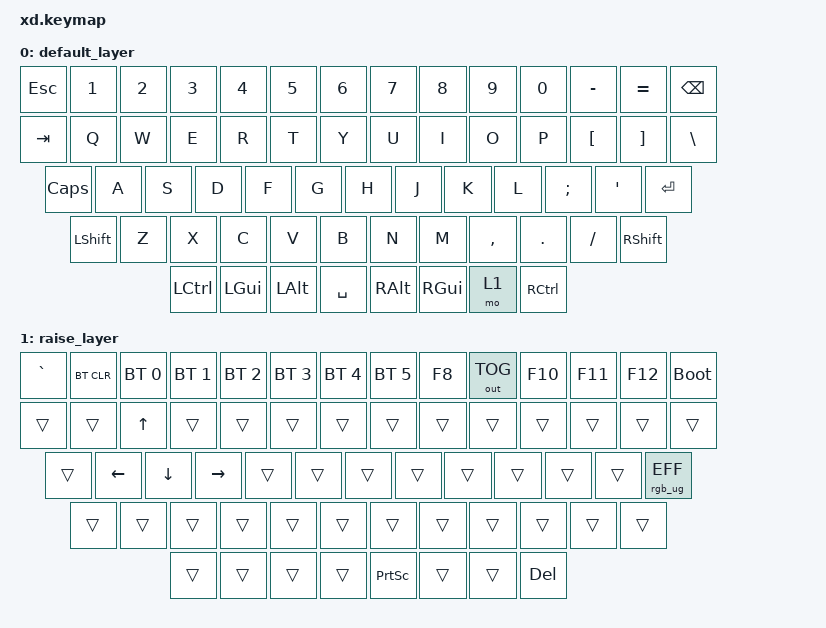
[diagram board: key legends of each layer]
// This file was generated from a template. Edit it to match your keyboard.
// See https://zmk.dev/docs/development/hardware-integration/new-shield for more instructions.

#include <behaviors.dtsi>
#include <dt-bindings/zmk/keys.h>
#include <dt-bindings/zmk/bt.h>
#include <dt-bindings/zmk/outputs.h>

/ {
    keymap {
        compatible = "zmk,keymap";
        default_layer {
            bindings = <
                &kp ESC  &kp N1 &kp N2 &kp N3 &kp N4 &kp N5 &kp N6 &kp N7 &kp N8 &kp N9 &kp N0 &kp MINUS &kp EQUAL  &kp BSPC
                &kp TAB  &kp Q  &kp W  &kp E  &kp R  &kp T  &kp Y  &kp U  &kp I  &kp O  &kp P  &kp LBKT  &kp RBKT  &kp BSLH
                &kp CLCK  &kp A  &kp S  &kp D  &kp F  &kp G  &kp H  &kp J  &kp K  &kp L  &kp SEMI &kp SQT           &kp RET
                &kp LSHFT   &kp Z  &kp X  &kp C  &kp V  &kp B  &kp N  &kp M  &kp COMMA &kp DOT &kp FSLH           &kp RSHFT
                &kp LCTRL &kp LGUI &kp LALT             &kp SPACE                     &kp RALT  &kp RGUI  &mo 1   &kp RCTRL
            >;
        };
        raise_layer {
            bindings = <
                &kp GRAVE &bt BT_CLR   &bt BT_SEL 0    &bt BT_SEL 1    &bt BT_SEL 2  &bt BT_SEL 3  &bt BT_SEL 4  &bt BT_SEL 5  &kp F8   &out OUT_TOG   &kp F10  &kp F11 &kp F12  &bootloader
                &trans  &trans    &kp UP    &trans  &trans  &trans &trans &trans  &trans   &trans   &trans   &trans  &trans          &trans
                &trans   &kp LEFT  &kp DOWN  &kp RIGHT &trans &trans &trans &trans &trans   &trans   &trans   &trans        &rgb_ug RGB_EFF
                &trans    &trans    &trans    &trans   &trans          &trans          &trans          &trans          &trans   &trans   &trans                          &trans
                &trans  &trans   &trans                            &trans                                      &kp PSCRN      &trans      &trans               &kp DEL
                
            >;
        };
    };
};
